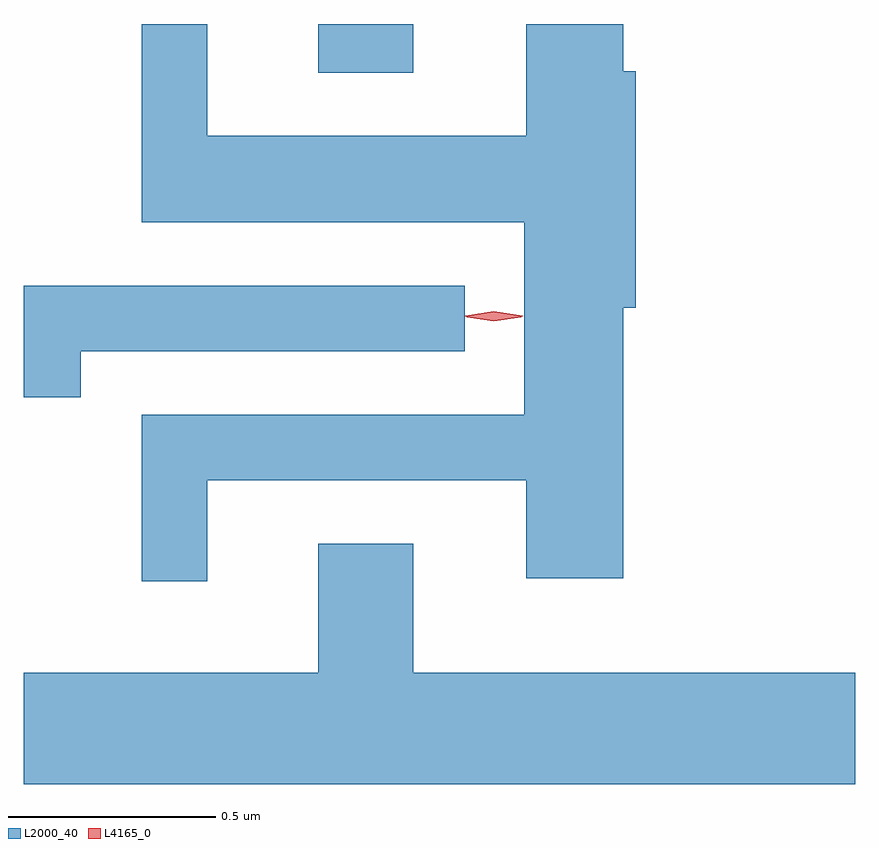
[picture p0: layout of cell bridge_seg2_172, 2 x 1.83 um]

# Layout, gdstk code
import gdstk
lib = gdstk.Library(unit=1e-6, precision=1e-09)
def R(c, l, rs):  # rectangles x0, y0, x1, y1
    for r in rs: c.add(gdstk.rectangle(r[:2], r[2:], *l))
def P(c, l, *ps):  # polygons
    for p in ps: c.add(gdstk.Polygon(p, *l))
L2000_40 = (2000, 40)
L4165_0 = (4165, 0)

bridge_seg2_172 = lib.new_cell('bridge_seg2_172')
R(bridge_seg2_172, L2000_40, [(784.931,1078.886,785.159,1079.003)])
P(bridge_seg2_172, L2000_40, [(784.664,1077.906),(785.431,1077.906),(785.431,1077.671),(785.664,1077.671),(785.664,1078.321),(785.694,1078.321),(785.694,1078.889),(785.664,1078.889),(785.664,1079.003),(785.431,1079.003),(785.431,1078.734),(784.664,1078.734),(784.664,1079.003),(784.506,1079.003),(784.506,1078.526),(785.426,1078.526),(785.426,1078.064),(784.506,1078.064),(784.506,1077.663),(784.664,1077.663)],
  [(784.359,1078.216),(785.283,1078.216),(785.283,1078.374),(784.222,1078.374),(784.222,1078.106),(784.359,1078.106)],
  [(786.222,1077.444),(785.159,1077.444),(785.159,1077.754),(784.931,1077.754),(784.931,1077.444),(784.222,1077.444),(784.222,1077.176),(786.222,1077.176)])
P(bridge_seg2_172, L4165_0, [(785.353,1078.289),(785.287,1078.298),(785.287,1078.298),(785.287,1078.299),(785.353,1078.308),(785.418,1078.299),(785.419,1078.299),(785.418,1078.298)],
  [(785.353,1078.292),(785.284,1078.301),(785.283,1078.301),(785.284,1078.302),(785.353,1078.312),(785.422,1078.302),(785.422,1078.302),(785.422,1078.301)])

lib.write_gds('bridge_seg2_172.gds')
